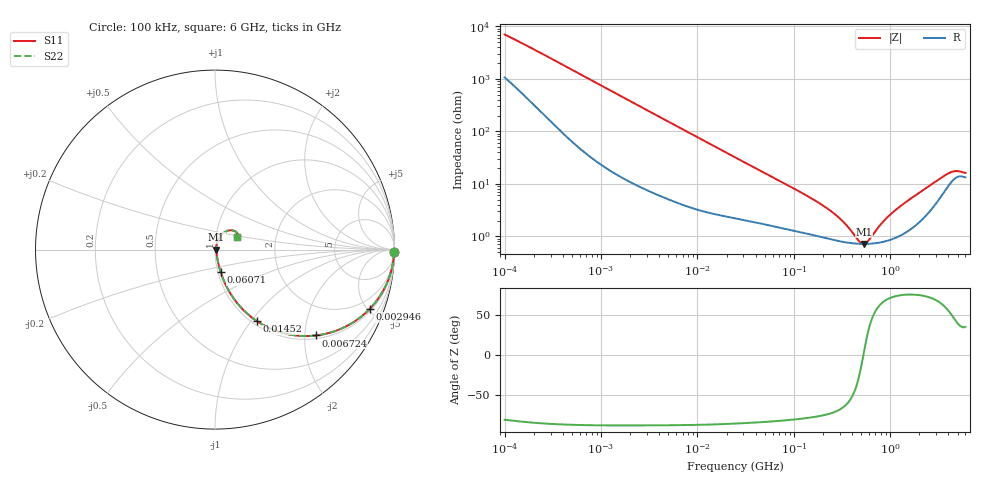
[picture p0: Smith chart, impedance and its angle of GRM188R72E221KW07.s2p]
!Murata Part Number: GRM188R72E221KW07
!These Parameters are Measured in Series Mode Connection
!Data Generated on Mar 30, 2021
!  o--ll--o
!Port1  Port2
!  o------o
!Operation Temp=25[degC], DC Bias Voltage=0[V]
!Freq. Start=100[kHz] Stop=6[GHz] 401[Steps]
# Hz S RI R 50
!Freq.(Hz) S11(Real) S11(Imag) S21(Real) S21(Imag) S12(Real) S12(Imag) S22(Real) S22(Imag)
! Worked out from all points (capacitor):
!   401 points, 100 kHz to 6 GHz, reference 50 ohm
!   read as one part in series: C = 223 pF near 105.7 kHz
!   lowest |Z| = 718 mohm at 533.3 MHz (marker M1)
!   series resonance near 526.4 MHz, so ESL is about 410 pH
!   S11 on the Smith chart (normalised r, x): 100 kHz: open; 2.946 MHz: 1.15, -5.14; 6.724 MHz: 1.08, -2.28; 14.52 MHz: 1.05, -1.07; 60.71 MHz: 1.03, -0.26; 6 GHz: 1.27, +0.18
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100000  0.9976 -0.014  0.00236 0.014  0.00236 0.014  0.9976 -0.014
631452  0.9898 -0.0835  0.0102 0.0835  0.0102 0.0835  0.9898 -0.0835
1565085  0.9533 -0.1972  0.0467 0.1972  0.0467 0.1972  0.9533 -0.1972
2946331  0.8614 -0.331  0.1386 0.331  0.1386 0.331  0.8614 -0.331
3987316  0.7774 -0.4006  0.2226 0.4006  0.2226 0.4006  0.7774 -0.4006
6724235  0.5631 -0.4784  0.4369 0.4784  0.4369 0.4784  0.5631 -0.4784
9614634  0.3955 -0.4689  0.6045 0.4689  0.6045 0.4689  0.3955 -0.4689
1.452491e7  0.2331 -0.3984  0.7669 0.3984  0.7669 0.3984  0.2331 -0.3984
2.517799e7  0.1044 -0.2726  0.8956 0.2726  0.8956 0.2726  0.1044 -0.2726
6.07118e7  0.0317 -0.1258  0.9683 0.1258  0.9683 0.1258  0.0317 -0.1258
1.546735e8  0.013 -0.0496  0.987 0.0496  0.987 0.0496  0.013 -0.0496
2.832789e8  0.00863 -0.0221  0.9914 0.0221  0.9914 0.0221  0.00863 -0.0221
3.530021e8  0.00776 -0.014  0.9922 0.014  0.9922 0.014  0.00776 -0.014
4.777233e8  0.00716 -0.00335  0.9928 0.00335  0.9928 0.00335  0.00716 -0.00335
5.332833e8  0.00711 0.00045  0.9929 -0.00045  0.9929 -0.00045  0.00711 0.00045
5.953049e8  0.00716 0.00428  0.9928 -0.00428  0.9928 -0.00428  0.00716 0.00428
7.837784e8  0.00778 0.0143  0.9922 -0.0143  0.9922 -0.0143  0.00778 0.0143
9.76689e8  0.00892 0.0231  0.9911 -0.0231  0.9911 -0.0231  0.00892 0.0231
1.602408e9  0.0155 0.0481  0.9845 -0.0481  0.9845 -0.0481  0.0155 0.0481
3.65708e9  0.0798 0.107  0.9202 -0.107  0.9202 -0.107  0.0798 0.107
4.557193e9  0.1191 0.097  0.8809 -0.097  0.8809 -0.097  0.1191 0.097
6e9  0.1232 0.071  0.8768 -0.071  0.8768 -0.071  0.1232 0.071
